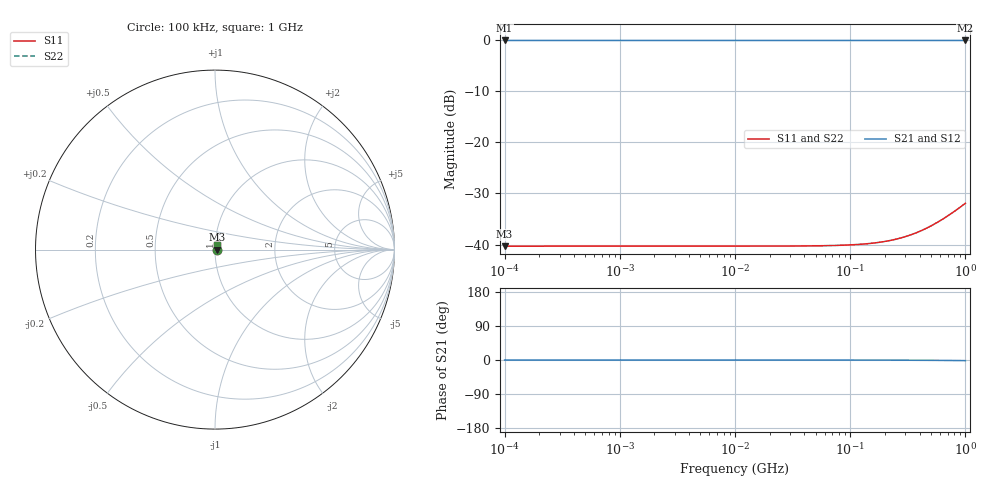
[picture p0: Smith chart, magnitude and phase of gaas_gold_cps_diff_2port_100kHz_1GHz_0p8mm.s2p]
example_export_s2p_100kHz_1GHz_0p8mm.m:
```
% Export differential 2-port S-parameters (.s2p) using txlineRLCGLine.
% Frequency range: 100 kHz .. 1 GHz (logspace).
% Line length: 0.8 mm.
% Assumptions:
%   - Cpul and Lpul constant with frequency
%   - Gpul = 0
%   - Rpul(f) from skin-depth / penetration model
%   - Port reference impedance Z0 = 100 Ohm (differential)

clear; clc;

% Geometry [m]
s = 20e-6;
t_au = 1e-6;
inner_gap = 50e-6;
g = inner_gap / 2;
h = 1e-6;
lineLength = 0.8e-3; % [m]

% Materials
eps_r_gaas = 12.9;
sigma_au = 4.10e7; % [S/m]

% Frequency sweep
fmin = 100e3;
fmax = 1e9;
Nfreq = 10000;
freq = logspace(log10(fmin), log10(fmax), Nfreq);

% Make root routines visible
this_file = mfilename('fullpath');
this_dir = fileparts(this_file);
repo_root = fileparts(fileparts(this_dir));
addpath(repo_root);

% Quasi-static C and L (constant over frequency)
qs = cps_single_layer_params(s, g, h, eps_r_gaas);
Cpul = qs.C_F_per_m;
Lpul = qs.Z_Ohm^2 * Cpul;

% Frequency-dependent differential Rpul (1xN)
rac = cps_rpul_matrix_skin(freq, s, t_au, sigma_au);
Rpul = rac.Rpul_Ohm_per_m;

% Export Touchstone
outfile = fullfile(this_dir, 'gaas_gold_cps_diff_2port_100kHz_1GHz_0p8mm.s2p');
out = cps_export_s2p_txlineRLCGLine(outfile, fmin, fmax, Nfreq, lineLength, Cpul, Lpul, Rpul, 0);

% Plot
S = out.S2;
S11_dB = 20 * log10(abs(squeeze(S(1, 1, :))));
S21_dB = 20 * log10(abs(squeeze(S(2, 1, :))));

fig = figure('Visible', 'off');
semilogx(freq, S11_dB, 'LineWidth', 1.3); hold on;
semilogx(freq, S21_dB, 'LineWidth', 1.3);
grid on;
xlabel('Frequency [Hz]');
ylabel('Magnitude [dB]');
title('Differential CPS S-parameters (100 kHz .. 1 GHz, 0.8 mm, Z0 = 100 Ohm)');
legend('|S11|', '|S21|', 'Location', 'best');

plotfile = fullfile(this_dir, 'gaas_gold_cps_diff_2port_100kHz_1GHz_0p8mm_plot.png');
exportgraphics(fig, plotfile, 'Resolution', 180);
close(fig);

fprintf('Touchstone file written:\n%s\n', out.filename);
fprintf('Plot written:\n%s\n', plotfile);
fprintf('lineLength: %.3f mm\n', lineLength * 1e3);
fprintf('f-range: %.3f kHz .. %.3f GHz, N=%d\n', fmin/1e3, fmax/1e9, Nfreq);
fprintf('Z0 normalization: 100 Ohm\n');
```
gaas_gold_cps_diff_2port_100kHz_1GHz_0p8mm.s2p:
# Hz S RI R 100
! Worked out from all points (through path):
!   10000 points, 100 kHz to 1 GHz, reference 100 ohm
!   highest |S21| = -0.08 dB at 100 kHz (marker M1); lowest = -0.1 dB at 1 GHz (marker M2)
!   lowest |S11| = -40.3 dB at 100 kHz (marker M3), VSWR 1.02, Z = 102 + j0.000473 ohm
!   |S11| at or under -10 dB: start of sweep to end of sweep
!   |S22| runs from -40.3 to -31.9 dB; largest |S21 - S12| = 4.4e-16
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100000  0.00966 2.32e-06  0.9903 -2.85e-06  0.9903 -2.85e-06  0.00966 2.32e-06
1.000461e7  0.00966 0.000232  0.9903 -0.000285  0.9903 -0.000285  0.00966 0.000232
3.943298e7  0.00966 0.000914  0.9903 -0.00112  0.9903 -0.00112  0.00966 0.000914
8.186369e7  0.00967 0.0019  0.9903 -0.00233  0.9903 -0.00233  0.00967 0.0019
1.3916e8  0.00967 0.00323  0.9903 -0.00397  0.9903 -0.00397  0.00967 0.00323
2.106359e8  0.00969 0.00488  0.9903 -0.00601  0.9903 -0.00601  0.00969 0.00488
3.101338e8  0.00973 0.00719  0.9903 -0.00884  0.9903 -0.00884  0.00973 0.00719
3.718408e8  0.00975 0.00862  0.9902 -0.0106  0.9902 -0.0106  0.00975 0.00862
4.450049e8  0.00979 0.0103  0.9902 -0.0127  0.9902 -0.0127  0.00979 0.0103
6.326742e8  0.00993 0.0147  0.9901 -0.018  0.9901 -0.018  0.00993 0.0147
1e9  0.0103 0.0232  0.9897 -0.0285  0.9897 -0.0285  0.0103 0.0232
